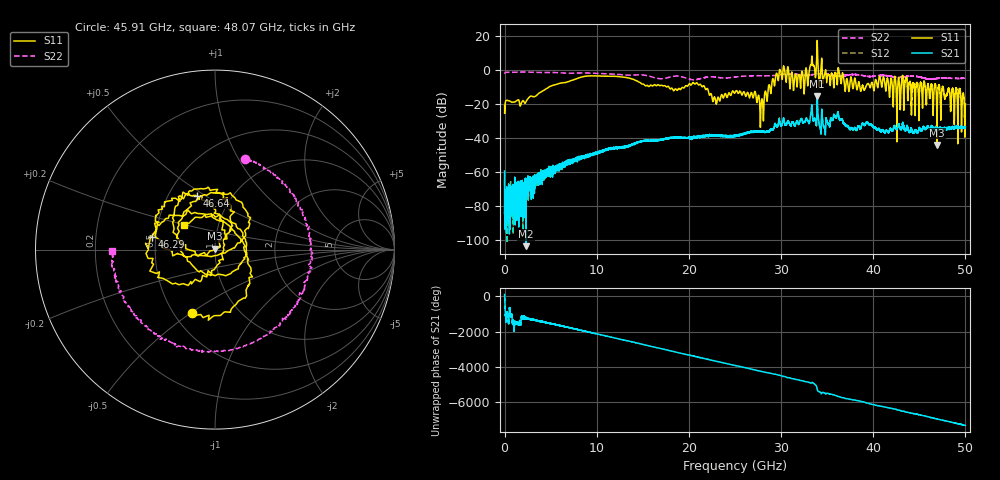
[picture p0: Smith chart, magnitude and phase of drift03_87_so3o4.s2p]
!Created with skrf (http://scikit-rf.org).
# Hz S RI R 50.0
!freq ReS11 ImS11 ReS21 ImS21 ReS12 ImS12 ReS22 ImS22
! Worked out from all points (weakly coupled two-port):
!   10001 points, 300 kHz to 50 GHz, reference 50 ohm
!   highest |S21| = -15.62 dB at 33.93 GHz (marker M1); lowest = -103.5 dB at 2.325 GHz (marker M2)
!   lowest |S11| = -44.1 dB at 46.92 GHz (marker M3), VSWR 1.01, Z = 49.8 + j0.591 ohm
!   |S11| at or under -10 dB: start of sweep to 4.85 GHz; 21.69 GHz to 28.62 GHz (6.936 GHz wide, 27.6 % of centre); 47.57 GHz to end of sweep (the widest 3 of 45)
!   |S22| runs from -5.9 to -1.3 dB; largest |S21 - S12| = 0.019
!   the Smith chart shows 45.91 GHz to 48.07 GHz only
!   S11 on the Smith chart (normalised r, x): 45.91 GHz: 0.62, -0.50; 46.29 GHz: 0.47, +0.08; 46.64 GHz: 0.69, +0.46; 48.07 GHz: 0.69, +0.19
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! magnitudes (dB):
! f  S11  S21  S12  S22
! 300 kHz  -21.2  -59.4  -64.8  -2.0
! 255.3 MHz  -17.9  -74.0  -101.6  -1.4
! 2.325 GHz  -18.8  -103.5  -66.4  -1.3
! 8.335 GHz  -4.3  -50.7  -52.0  -1.9
! 16.67 GHz  -8.8  -41.3  -41.4  -5.1
! 21.01 GHz  -8.7  -39.4  -39.5  -5.5
! 22.81 GHz  -16.1  -38.2  -38.2  -4.2
! 25 GHz  -13.4  -38.6  -39.0  -4.3
! 27.02 GHz  -15.6  -36.2  -36.2  -3.5
! 27.92 GHz  -17.1  -36.1  -36.4  -3.5
! 29.69 GHz  -6.4  -32.0  -31.6  -3.0
! 32.32 GHz  -1.5  -30.4  -30.6  -3.3
! 33.34 GHz  8.0  -20.5  -20.8  -2.9
! 33.93 GHz  17.1  -15.6  -16.1  -2.5
! 37.16 GHz  -5.3  -32.8  -32.7  -3.1
! 41.67 GHz  -9.0  -36.7  -36.6  -3.6
! 45.91 GHz  -8.5  -33.1  -33.1  -5.5
! 46.29 GHz  -8.9  -33.8  -33.9  -5.5
! 46.64 GHz  -10.0  -34.6  -34.4  -5.3
! 46.92 GHz  -44.1  -34.6  -34.6  -5.1
! 48.07 GHz  -13.2  -35.0  -34.7  -4.8
! 50 GHz  -20.0  -33.3  -34.0  -4.9
